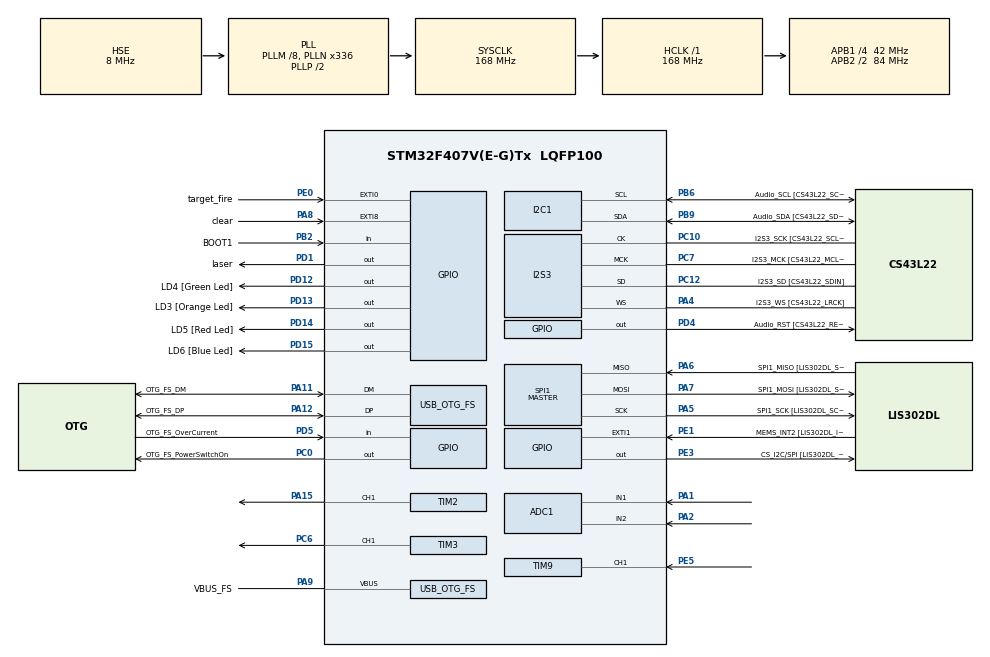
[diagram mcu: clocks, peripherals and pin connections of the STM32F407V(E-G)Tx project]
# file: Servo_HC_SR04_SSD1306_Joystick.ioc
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ADC1.Channel-0\#ChannelRegularConversion=ADC_CHANNEL_1
ADC1.Channel-1\#ChannelRegularConversion=ADC_CHANNEL_2
ADC1.ContinuousConvMode=ENABLE
ADC1.DMAContinuousRequests=ENABLE
ADC1.NbrOfConversion=2
ADC1.NbrOfConversionFlag=1
ADC1.Rank-0\#ChannelRegularConversion=1
ADC1.Rank-1\#ChannelRegularConversion=2
ADC1.SamplingTime-0\#ChannelRegularConversion=ADC_SAMPLETIME_480CYCLES
ADC1.SamplingTime-1\#ChannelRegularConversion=ADC_SAMPLETIME_480CYCLES
ADC1.ScanConvMode=ENABLE
ADC1.master=1
Dma.ADC1.0.Direction=DMA_PERIPH_TO_MEMORY
Dma.ADC1.0.FIFOMode=DMA_FIFOMODE_DISABLE
Dma.ADC1.0.Instance=DMA2_Stream0
Dma.ADC1.0.MemDataAlignment=DMA_MDATAALIGN_HALFWORD
Dma.ADC1.0.MemInc=DMA_MINC_ENABLE
Dma.ADC1.0.Mode=DMA_CIRCULAR
Dma.ADC1.0.PeriphDataAlignment=DMA_PDATAALIGN_HALFWORD
Dma.ADC1.0.PeriphInc=DMA_PINC_DISABLE
Dma.ADC1.0.Priority=DMA_PRIORITY_LOW
Dma.I2C1_TX.1.Direction=DMA_MEMORY_TO_PERIPH
Dma.I2C1_TX.1.FIFOMode=DMA_FIFOMODE_DISABLE
Dma.I2C1_TX.1.Instance=DMA1_Stream6
Dma.I2C1_TX.1.MemDataAlignment=DMA_MDATAALIGN_BYTE
Dma.I2C1_TX.1.MemInc=DMA_MINC_ENABLE
Dma.I2C1_TX.1.Mode=DMA_NORMAL
Dma.I2C1_TX.1.PeriphDataAlignment=DMA_PDATAALIGN_BYTE
Dma.I2C1_TX.1.PeriphInc=DMA_PINC_DISABLE
Dma.I2C1_TX.1.Priority=DMA_PRIORITY_LOW
Dma.Request0=ADC1
Dma.Request1=I2C1_TX
I2C1.I2C_Mode=I2C_Fast
I2S3.AudioFreq-Half_Duplex_Master=I2S_AUDIOFREQ_96K
I2S3.ErrorAudioFreq=-2.34 %
I2S3.ErrorAudioFreq-Half_Duplex_Master=0.8 %
I2S3.FullDuplexMode=I2S_FULLDUPLEXMODE_DISABLE
I2S3.Instance=SPI$Index
I2S3.RealAudioFreq=93.75 KHz
I2S3.RealAudioFreq-Half_Duplex_Master=96.774 KHz
I2S3.VirtualMode=I2S_MODE_MASTER
Mcu.Family=STM32F4
Mcu.Name=STM32F407V(E-G)Tx
Mcu.Package=LQFP100
NVIC.DMA1_Stream6_IRQn=true\:0\:0\:false\:false\:true\:false\:true\:true
NVIC.DMA2_Stream0_IRQn=true\:0\:0\:false\:false\:true\:false\:true\:true
NVIC.EXTI0_IRQn=true\:0\:0\:false\:false\:true\:true\:true\:true
NVIC.EXTI9_5_IRQn=true\:0\:0\:false\:false\:true\:true\:true\:true
NVIC.I2C1_ER_IRQn=true\:0\:0\:false\:false\:true\:true\:true\:true
NVIC.I2C1_EV_IRQn=true\:0\:0\:false\:false\:true\:true\:true\:true
NVIC.OTG_FS_IRQn=true\:0\:0\:false\:false\:true\:true\:true\:true
NVIC.PriorityGroup=NVIC_PRIORITYGROUP_0
NVIC.TIM1_BRK_TIM9_IRQn=true\:0\:0\:false\:false\:true\:true\:true\:true
PA1.Signal=ADCx_IN1
PA10.GPIO_Label=OTG_FS_ID
PA10.GPIO_Mode=GPIO_MODE_AF_PP
PA10.GPIO_PuPd=GPIO_NOPULL
PA10.GPIO_Speed=GPIO_SPEED_FREQ_LOW
PA10.Signal=USB_OTG_FS_ID
PA11.GPIO_Label=OTG_FS_DM
PA11.GPIO_Mode=GPIO_MODE_AF_PP
PA11.GPIO_PuPd=GPIO_NOPULL
PA11.GPIO_Speed=GPIO_SPEED_FREQ_LOW
PA11.Mode=Host_Only
PA11.Signal=USB_OTG_FS_DM
PA12.GPIO_Label=OTG_FS_DP
PA12.GPIO_Mode=GPIO_MODE_AF_PP
PA12.GPIO_PuPd=GPIO_NOPULL
PA12.GPIO_Speed=GPIO_SPEED_FREQ_LOW
PA12.Mode=Host_Only
PA12.Signal=USB_OTG_FS_DP
PA13.GPIO_Label=SWDIO
PA13.Mode=Serial_Wire
PA13.Signal=SYS_JTMS-SWDIO
PA14.GPIO_Label=SWCLK
PA14.Mode=Serial_Wire
PA14.Signal=SYS_JTCK-SWCLK
PA15.Signal=S_TIM2_CH1_ETR
PA2.Signal=ADCx_IN2
PA4.GPIO_Label=I2S3_WS [CS43L22_LRCK]
PA4.GPIO_Mode=GPIO_MODE_AF_PP
PA4.GPIO_PuPd=GPIO_NOPULL
PA4.GPIO_Speed=GPIO_SPEED_FREQ_LOW
PA4.Mode=Half_Duplex_Master
PA4.Signal=I2S3_WS
PA5.GPIO_Label=SPI1_SCK [LIS302DL_SCL/SPC]
PA5.GPIO_Mode=GPIO_MODE_AF_PP
PA5.GPIO_PuPd=GPIO_NOPULL
PA5.GPIO_Speed=GPIO_SPEED_FREQ_LOW
PA5.Mode=Full_Duplex_Master
PA5.Signal=SPI1_SCK
PA6.GPIO_Label=SPI1_MISO [LIS302DL_SDO]
PA6.GPIO_Mode=GPIO_MODE_AF_PP
PA6.GPIO_PuPd=GPIO_NOPULL
PA6.GPIO_Speed=GPIO_SPEED_FREQ_LOW
PA6.Mode=Full_Duplex_Master
PA6.Signal=SPI1_MISO
PA7.GPIO_Label=SPI1_MOSI [LIS302DL_SDA/SDI/SDO]
PA7.GPIO_Mode=GPIO_MODE_AF_PP
PA7.GPIO_PuPd=GPIO_NOPULL
PA7.GPIO_Speed=GPIO_SPEED_FREQ_LOW
PA7.Mode=Full_Duplex_Master
PA7.Signal=SPI1_MOSI
PA8.GPIO_Label=clear
PA8.GPIO_PuPd=GPIO_PULLUP
PA8.Signal=GPXTI8
PA9.GPIO_Label=VBUS_FS
PA9.GPIO_Mode=GPIO_MODE_INPUT
PA9.GPIO_PuPd=GPIO_NOPULL
PA9.Mode=Activate_VBUS
PA9.Signal=USB_OTG_FS_VBUS
PB10.GPIO_Label=CLK_IN [MP45DT02_CLK]
PB10.GPIO_Mode=GPIO_MODE_AF_PP
PB10.GPIO_PuPd=GPIO_NOPULL
PB10.GPIO_Speed=GPIO_SPEED_FREQ_LOW
PB10.Signal=I2S2_CK
PB2.GPIO_Label=BOOT1
PB2.GPIO_Mode=GPIO_MODE_INPUT
PB2.GPIO_PuPd=GPIO_NOPULL
PB2.Signal=GPIO_Input
PB3.GPIO_Label=SWO
PB3.Signal=SYS_JTDO-SWO
PB6.GPIO_Label=Audio_SCL [CS43L22_SCL]
PB6.GPIO_Mode=GPIO_MODE_AF_OD
PB6.GPIO_Pu=GPIO_PULLUP
PB6.GPIO_PuPd=GPIO_NOPULL
PB6.GPIO_Speed=GPIO_SPEED_FREQ_LOW
PB6.Mode=I2C
PB6.Signal=I2C1_SCL
PB9.GPIO_Label=Audio_SDA [CS43L22_SDA]
PB9.GPIO_Mode=GPIO_MODE_AF_OD
PB9.GPIO_Pu=GPIO_PULLUP
PB9.GPIO_PuPd=GPIO_NOPULL
PB9.GPIO_Speed=GPIO_SPEED_FREQ_LOW
PB9.Mode=I2C
PB9.Signal=I2C1_SDA
PC0.GPIO_Label=OTG_FS_PowerSwitchOn
PC0.GPIO_PuPd=GPIO_NOPULL
PC0.GPIO_Speed=GPIO_SPEED_FREQ_LOW
PC0.PinState=GPIO_PIN_SET
PC0.Signal=GPIO_Output
PC10.GPIO_Label=I2S3_SCK [CS43L22_SCLK]
PC10.GPIO_Mode=GPIO_MODE_AF_PP
PC10.GPIO_PuPd=GPIO_NOPULL
PC10.GPIO_Speed=GPIO_SPEED_FREQ_LOW
PC10.Mode=Half_Duplex_Master
PC10.Signal=I2S3_CK
PC12.GPIO_Label=I2S3_SD [CS43L22_SDIN]
PC12.GPIO_Mode=GPIO_MODE_AF_PP
PC12.GPIO_PuPd=GPIO_NOPULL
PC12.GPIO_Speed=GPIO_SPEED_FREQ_LOW
PC12.Mode=Half_Duplex_Master
PC12.Signal=I2S3_SD
PC14-OSC32_IN.GPIO_Label=PC14-OSC32_IN
PC14-OSC32_IN.Mode=LSE-External-Oscillator
PC14-OSC32_IN.Signal=RCC_OSC32_IN
PC15-OSC32_OUT.GPIO_Label=PC15-OSC32_OUT
PC15-OSC32_OUT.Mode=LSE-External-Oscillator
PC15-OSC32_OUT.Signal=RCC_OSC32_OUT
PC3.GPIO_Label=PDM_OUT [MP45DT02_DOUT]
PC3.GPIO_Mode=GPIO_MODE_AF_PP
PC3.GPIO_PuPd=GPIO_NOPULL
PC3.GPIO_Speed=GPIO_SPEED_FREQ_LOW
PC3.Signal=I2S2_SD
PC6.Signal=S_TIM3_CH1
PC7.GPIO_Label=I2S3_MCK [CS43L22_MCLK]
PC7.GPIO_Mode=GPIO_MODE_AF_PP
PC7.GPIO_PuPd=GPIO_NOPULL
PC7.GPIO_Speed=GPIO_SPEED_FREQ_LOW
PC7.Mode=Master_Clock_Activated
PC7.Signal=I2S3_MCK
PD1.GPIO_Label=laser
PD1.Signal=GPIO_Output
PD12.GPIO_Label=LD4 [Green Led]
PD12.GPIO_PuPd=GPIO_NOPULL
PD12.GPIO_Speed=GPIO_SPEED_FREQ_LOW
PD12.Signal=GPIO_Output
PD13.GPIO_Label=LD3 [Orange Led]
PD13.GPIO_PuPd=GPIO_NOPULL
PD13.GPIO_Speed=GPIO_SPEED_FREQ_LOW
PD13.Signal=GPIO_Output
PD14.GPIO_Label=LD5 [Red Led]
PD14.GPIO_PuPd=GPIO_NOPULL
PD14.GPIO_Speed=GPIO_SPEED_FREQ_LOW
PD14.Signal=GPIO_Output
PD15.GPIO_Label=LD6 [Blue Led]
PD15.GPIO_PuPd=GPIO_NOPULL
PD15.GPIO_Speed=GPIO_SPEED_FREQ_LOW
PD15.Signal=GPIO_Output
PD4.GPIO_Label=Audio_RST [CS43L22_RESET]
PD4.GPIO_PuPd=GPIO_NOPULL
PD4.GPIO_Speed=GPIO_SPEED_FREQ_LOW
PD4.Signal=GPIO_Output
PD5.GPIO_Label=OTG_FS_OverCurrent
PD5.GPIO_Mode=GPIO_MODE_INPUT
PD5.GPIO_PuPd=GPIO_NOPULL
PD5.Signal=GPIO_Input
PE0.GPIO_Label=target_fire
PE0.GPIO_PuPd=GPIO_PULLUP
PE0.Signal=GPXTI0
PE1.GPIO_Label=MEMS_INT2 [LIS302DL_INT2]
PE1.GPIO_ModeDefaultEXTI=GPIO_MODE_EVT_RISING
PE1.GPIO_PuPd=GPIO_NOPULL
PE1.Signal=GPXTI1
PE3.GPIO_Label=CS_I2C/SPI [LIS302DL_CS_I2C/SPI]
PE3.GPIO_PuPd=GPIO_NOPULL
PE3.GPIO_Speed=GPIO_SPEED_FREQ_LOW
PE3.Signal=GPIO_Output
PE5.Signal=S_TIM9_CH1
PH0-OSC_IN.GPIO_Label=PH0-OSC_IN
PH0-OSC_IN.Mode=HSE-External-Oscillator
PH0-OSC_IN.Signal=RCC_OSC_IN
PH1-OSC_OUT.GPIO_Label=PH1-OSC_OUT
PH1-OSC_OUT.Mode=HSE-External-Oscillator
PH1-OSC_OUT.Signal=RCC_OSC_OUT
ProjectManager.HeapSize=0x200
ProjectManager.StackSize=0x400
ProjectManager.TargetToolchain=STM32CubeIDE
RCC.48MHZClocksFreq_Value=48000000
RCC.AHBFreq_Value=168000000
RCC.APB1CLKDivider=RCC_HCLK_DIV4
RCC.APB1Freq_Value=42000000
RCC.APB1TimFreq_Value=84000000
RCC.APB2CLKDivider=RCC_HCLK_DIV2
RCC.APB2Freq_Value=84000000
RCC.APB2TimFreq_Value=168000000
RCC.CortexFreq_Value=168000000
RCC.HCLKFreq_Value=168000000
RCC.HSE_VALUE=8000000
RCC.HSI_VALUE=16000000
RCC.PLLM=8
RCC.PLLN=336
RCC.PLLQ=7
RCC.SYSCLKFreq_VALUE=168000000
RCC.SYSCLKSource=RCC_SYSCLKSOURCE_PLLCLK
RCC.VCOOutputFreq_Value=336000000
SH.ADCx_IN1.0=ADC1_IN1,IN1
SH.ADCx_IN2.0=ADC1_IN2,IN2
SH.S_TIM2_CH1_ETR.0=TIM2_CH1,PWM Generation1 CH1
SH.S_TIM3_CH1.0=TIM3_CH1,PWM Generation1 CH1
SH.S_TIM9_CH1.0=TIM9_CH1,TriggerSource_TI1FP1
SH.S_TIM9_CH1.1=TIM9_CH1,Input_Capture1_from_TI1
SPI1.BaudRatePrescaler-Full_Duplex_Master=SPI_BAUDRATEPRESCALER_2
SPI1.CalculateBaudRate-Full_Duplex_Master=42.0 MBits/s
SPI1.Direction=SPI_DIRECTION_2LINES
SPI1.Mode=SPI_MODE_MASTER
SPI1.Mode-Full_Duplex_Master=SPI_MODE_MASTER
SPI1.VirtualType=VM_MASTER
TIM2.Channel-PWM\ Generation1\ CH1=TIM_CHANNEL_1
TIM2.Period=8400-1
TIM2.Prescaler=200-1
TIM3.Channel-PWM\ Generation1\ CH1=TIM_CHANNEL_1
TIM3.Period=59999
TIM3.Prescaler=83
TIM3.Pulse-PWM\ Generation1\ CH1=10
TIM9.Channel-Input_Capture1_from_TI1=TIM_CHANNEL_1
TIM9.Channel-Input_Capture2_from_TI1_63=TIM_CHANNEL_2
TIM9.ICPolarity_CH2=TIM_INPUTCHANNELPOLARITY_FALLING
TIM9.Prescaler=167
USB_HOST.BSP.number=1
USB_HOST.USBH_HandleTypeDef-CDC_FS=hUsbHostFS
USB_HOST.VirtualModeFS=Cdc
USB_HOST0.BSP.STBoard=false
USB_HOST0.BSP.api=Unknown
USB_HOST0.BSP.instance=PC0
USB_HOST0.BSP.ip=GPIO
USB_HOST0.BSP.mode=Output
USB_HOST0.BSP.name=Drive_VBUS_FS
USB_HOST0.BSP.solution=PC0
USB_OTG_FS.VirtualMode=Host_Only
USB_OTG_FS.phy_itface=HCD_PHY_EMBEDDED
VP_TIM2_VS_ClockSourceINT.Mode=Internal
VP_TIM3_VS_ClockSourceINT.Mode=Internal
VP_TIM9_VS_ControllerModeReset.Mode=Reset Mode
VP_TIM9_VS_indirect_ch1.Mode=Input_Capture2_from_TI1_63
VP_USB_HOST_VS_USB_HOST_CDC_FS.Mode=CDC_FS
board=STM32F407G-DISC1

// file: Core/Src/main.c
/* USER CODE BEGIN Header */
/**
  ******************************************************************************
  * @file           : main.c
  * @brief          : Main program body
  ******************************************************************************
  * @attention
  *
  * Copyright (c) 2026 STMicroelectronics.
  * All rights reserved.
  *
  * This software is licensed under terms that can be found in the LICENSE file
  * in the root directory of this software component.
  * If no LICENSE file comes with this software, it is provided AS-IS.
  *
  ******************************************************************************
  */
/* USER CODE END Header */
#include "main.h"
#include "usb_host.h"

/* USER CODE BEGIN Includes */
#include<stdio.h>
#include "ssd1306_fonts.h"
#include "ssd1306.h"
/* USER CODE END Includes */

/* USER CODE BEGIN PM */
#define SIZE 3 // Maximum number of targets to save
/* USER CODE END PM */

ADC_HandleTypeDef hadc1;
DMA_HandleTypeDef hdma_adc1;

I2C_HandleTypeDef hi2c1;
DMA_HandleTypeDef hdma_i2c1_tx;

I2S_HandleTypeDef hi2s3;

SPI_HandleTypeDef hspi1;

TIM_HandleTypeDef htim2;// For servo motor PWM signal
TIM_HandleTypeDef htim3;// For possible other PWM operations
TIM_HandleTypeDef htim9;// For HC-SR04 Input Capture (Echo time measurement)

/* USER CODE BEGIN PV */

// --- SENSOR AND JOYSTICK VARIABLES ---
uint16_t adc_value[2] = {0};			// Joystick X and Y raw ADC data read via DMA
volatile uint16_t joy_servo_value = 0;	// 0-180 degree target angle converted from Joystick X axis
volatile uint16_t joy_ssd1306 = 0;		// Joystick Y axis data (For menu navigation)
uint16_t joy_servo_value_old = 0;		// Old angle data to prevent joystick noise (deadband)

// --- DISTANCE AND TARGET REGISTRATION VARIABLES ---
float distances[SIZE] ={0};				// Array holding the distances of found targets (cm)
float distance = 0;						// Current instantly measured distance
float distance_old = 0;					// Old distance to avoid saving the same target twice
uint8_t distance_counter = 0;			// Index of the next empty slot in the array (for distance)
uint8_t targets[SIZE] = {0};			// Array holding the angle (degrees) of found targets
uint8_t target_counter = 0;				// Index of the next empty slot in the array (for angle)

// --- TIMER AND FLAG VARIABLES ---
uint32_t time = 0;						// Sensor echo return time in microseconds
volatile uint8_t flag = 0;				// Flag raised when Input Capture is completed (echo measured)
volatile uint8_t clear_flag = 0;		// Flag raised when Clear button is pressed
uint8_t target_fire_flag = 0;			// Flag raised when Fire button is pressed
uint8_t screen = 1;						// Flag indicating the screen needs to be updated

// --- CONTROL VARIABLES ---
uint16_t last_measurement_angle = 0; 	// Angle of the last measurement to prevent successive measurements
uint32_t last_measurement_time = 0;  	// Time (ms) of the last measurement to prevent spam measurements

// --- OLED SCREEN VARIABLES ---
char screenbuffer[SIZE][30] = {0};		// Array temporarily holding the texts to be printed on the screen
uint8_t selected_target = 1;			// Target line currently focused in the menu (0, 1, or 2)
uint8_t old_selected_target = 99;		// Old selection state to update the screen when the menu cursor changes

/* USER CODE END PV */

void SystemClock_Config(void);
static void MX_GPIO_Init(void);
static void MX_DMA_Init(void);
static void MX_I2C1_Init(void);
static void MX_I2S3_Init(void);
static void MX_SPI1_Init(void);
static void MX_ADC1_Init(void);
static void MX_TIM2_Init(void);
static void MX_TIM3_Init(void);
static void MX_TIM9_Init(void);
void MX_USB_HOST_Process(void);

/* USER CODE BEGIN PFP */
void set_servo_angle (TIM_HandleTypeDef *htim,uint32_t channel,uint8_t angle);
void fire();
/* USER CODE END PFP */

int main(void)
{

  /* MCU Configuration--------------------------------------------------------*/

  /* Reset of all peripherals, Initializes the Flash interface and the Systick. */
  HAL_Init();

  /* Configure the system clock */
  SystemClock_Config();

  /* Initialize all configured peripherals */
  MX_GPIO_Init();
  MX_DMA_Init();
  MX_I2C1_Init();
  MX_I2S3_Init();
  MX_SPI1_Init();
  MX_USB_HOST_Init();
  MX_ADC1_Init();
  MX_TIM2_Init();
  MX_TIM3_Init();
  MX_TIM9_Init();
  /* USER CODE BEGIN 2 */
  HAL_Delay(500);// Short delay for system power-up and OLED readiness
  ssd1306_Init();// Initialize the OLED screen

  // Start ADC in DMA mode (Reads Joystick X and Y axes continuously in the background)
  HAL_ADC_Start_DMA(&hadc1 ,(uint32_t*)adc_value,2);

  // Start PWM signals for motors
  HAL_TIM_PWM_Start(&htim2, TIM_CHANNEL_1);
  HAL_TIM_PWM_Start(&htim3, TIM_CHANNEL_1);

  // Start Input Capture modules to measure the echo time of the distance sensor
  HAL_TIM_IC_Start_IT(&htim9,TIM_CHANNEL_1);
  HAL_TIM_IC_Start_IT(&htim9,TIM_CHANNEL_2);
  /* USER CODE END 2 */

  /* Infinite loop */
  while (1)
  {
    MX_USB_HOST_Process();

    /* USER CODE BEGIN 3 */
    // --- 1. FREE CONTROL OF SERVO MOTOR WITH JOYSTICK ---
    // We create a 2-degree "deadband" to prevent small tremors (noise) from the joystick from affecting the motor.
    int16_t difference = (int16_t)joy_servo_value - (int16_t)joy_servo_value_old;
    if(difference > 2 || difference < -2 ){
        set_servo_angle(&htim2, TIM_CHANNEL_1,joy_servo_value);
        joy_servo_value_old = joy_servo_value;// Update the old value
    }

    // --- 2. DISTANCE MEASUREMENT AND TARGET DETECTION ---
    // When the echo returns from the sensor (when the Input capture interrupt is triggered)
    if(flag == 1){
    	flag = 0;// Lower the flag as we start processing

    	// Speed of sound formula: Find the distance in centimeters by dividing the time (microseconds) by 58
    	distance = (float)time / 58.0f;

    	// Registration check to prevent saving the same target repeatedly
    	uint8_t registered = 0;
    	for(int i = 0; i < SIZE;i++){
    		// If the measured distance is within +- 1 cm of an existing distance in the array, this target is already registered
    		if(distances[i] != 0.0f  &&(distance - distances[i] < 1.0f && distances[i] - distance < 1.0f)){
    			registered = 1;
    			break;
    		}
    	}

    	// Angle difference between the current position and the previous recording position (must have rotated at least 20 degrees)
    	int16_t angle_diff = (int16_t)joy_servo_value - (int16_t)last_measurement_angle;

    	// Get the elapsed time (at least 1 second must have passed to prevent spam recording)
    	uint32_t current_time = HAL_GetTick();

    	// IF: Target is closer than 20cm AND hasn't been recorded before AND there's room in the array
    	// AND motor has rotated at least 20 degrees AND 1000ms has passed since the last measurement -> SAVE
    	if(distance < 20.0f && registered == 0 && target_counter < SIZE &&
    	  (angle_diff >= 20 || angle_diff <= -20) && (current_time - last_measurement_time >= 1000)){

    		// Save the target to the arrays
    		distances[distance_counter] = distance;
    		targets[target_counter] = joy_servo_value;

    		// Increment the counters by one
    		target_counter++;
    		distance_counter++;

    		distance_old = distance;
    		screen = 1;// Give the order to update the screen since a new target was added

    		// We update our reference measurement points since the criteria are met
    		last_measurement_angle = joy_servo_value;
    		last_measurement_time = current_time;
    	}
    }

    // --- 3. CLEAR TARGETS BUTTON (CLEAR) ---
    if(clear_flag == 1){
    	// Reset the contents of the arrays
    	for (int i = 0; i<SIZE;i++){
    		distances[i] = 0;
    		targets[i] = 0;
    	}
    	target_counter = 0;
    	distance_counter = 0;
    	clear_flag = 0;// Operation finished, lower the flag
    	screen = 1;// Order to update the screen to clear it

    	// Return the system to the starting position (exact center point)
        set_servo_angle(&htim2, TIM_CHANNEL_1,90);
        joy_servo_value_old = 90;
        last_measurement_angle = 90;

        // Move the menu cursor to the top
        selected_target = 0;
        old_selected_target = 99;
    }

    // --- 4. OLED SCREEN MENU SELECTION (JOYSTICK Y AXIS) ---
    // Navigation process in a 3-line menu based on the ADC data (0-4095) of the joystick's Y axis
    if(joy_ssd1306 < 1300) {
            selected_target = 0;// Joystick pulled up
        }
        else if(joy_ssd1306 > 2700) {
            selected_target = 2;// Joystick pulled down
        }
        else {
            selected_target = 1;// Joystick in the middle (free)
        }

    // If the user moved to a different line with the joystick:
    if(selected_target != old_selected_target){
            old_selected_target = selected_target;// Equalize the state to prevent jitter
            screen = 1;// Update the screen because the cursor (>) will move

            // If there is a valid (non-empty) target on the selected line, send the motor directly to that target's angle
            if(selected_target < target_counter){
            	set_servo_angle(&htim2, TIM_CHANNEL_1, targets[selected_target]);
            }

        }

    // --- 5. FIRE AT TARGET BUTTON (FIRE) ---
    if(target_fire_flag == 1){
    		// Lower the flag as soon as firing starts (to prevent continuous firing)
            target_fire_flag = 0;

            // We check for a valid target to prevent accidentally firing at an empty line (0.0 cm)
            if(selected_target < target_counter){
                fire();// Call the laser firing function
            }
        }

    // --- 6. UPDATING THE OLED SCREEN ---
    if(screen == 1){
            for(uint8_t i = 0; i < SIZE; i++){
            	// Places a '>' sign at the beginning of the selected line, and a space ' ' for others (Ternary If usage)
                char cursor = (i == selected_target) ? '>' : ' ';

                // Format the text to be printed. Ex: "> Target:1 cm:15.5"
                sprintf(screenbuffer[i], "%c Target:%d cm:%.1f", cursor, i+1, distances[i]);

                // Set the cursor so that the X coordinate of each line is 0, and the Y coordinate is 16, 32, and 48
                ssd1306_SetCursor(0, (16 + (i * 16)));
                ssd1306_WriteString(screenbuffer[i], Font_6x8, White);// Write to the buffer
            }
            // Display the changes on the screen via DMA in the background without straining the hardware
            ssd1306_UpdateScreen_DMA();
            screen = 0; // Update finished, lower the flag
        }

      }

  /* USER CODE END 3 */
}

void SystemClock_Config(void)
{
  RCC_OscInitTypeDef RCC_OscInitStruct = {0};
  RCC_ClkInitTypeDef RCC_ClkInitStruct = {0};

  /** Configure the main internal regulator output voltage
  */
  __HAL_RCC_PWR_CLK_ENABLE();
  __HAL_PWR_VOLTAGESCALING_CONFIG(PWR_REGULATOR_VOLTAGE_SCALE1);

  /** Initializes the RCC Oscillators according to the specified parameters
  * in the RCC_OscInitTypeDef structure.
  */
  RCC_OscInitStruct.OscillatorType = RCC_OSCILLATORTYPE_HSE;
  RCC_OscInitStruct.HSEState = RCC_HSE_ON;
  RCC_OscInitStruct.PLL.PLLState = RCC_PLL_ON;
  RCC_OscInitStruct.PLL.PLLSource = RCC_PLLSOURCE_HSE;
  RCC_OscInitStruct.PLL.PLLM = 8;
  RCC_OscInitStruct.PLL.PLLN = 336;
  RCC_OscInitStruct.PLL.PLLP = RCC_PLLP_DIV2;
  RCC_OscInitStruct.PLL.PLLQ = 7;
  if (HAL_RCC_OscConfig(&RCC_OscInitStruct) != HAL_OK)
  {
    Error_Handler();
  }

  /** Initializes the CPU, AHB and APB buses clocks
  */
  RCC_ClkInitStruct.ClockType = RCC_CLOCKTYPE_HCLK|RCC_CLOCKTYPE_SYSCLK
                              |RCC_CLOCKTYPE_PCLK1|RCC_CLOCKTYPE_PCLK2;
  RCC_ClkInitStruct.SYSCLKSource = RCC_SYSCLKSOURCE_PLLCLK;
  RCC_ClkInitStruct.AHBCLKDivider = RCC_SYSCLK_DIV1;
  RCC_ClkInitStruct.APB1CLKDivider = RCC_HCLK_DIV4;
  RCC_ClkInitStruct.APB2CLKDivider = RCC_HCLK_DIV2;

  if (HAL_RCC_ClockConfig(&RCC_ClkInitStruct, FLASH_LATENCY_5) != HAL_OK)
  {
    Error_Handler();
  }
}

static void MX_ADC1_Init(void)
{

  ADC_ChannelConfTypeDef sConfig = {0};

  /** Configure the global features of the ADC (Clock, Resolution, Data Alignment and number of conversion)
  */
  hadc1.Instance = ADC1;
  hadc1.Init.ClockPrescaler = ADC_CLOCK_SYNC_PCLK_DIV4;
  hadc1.Init.Resolution = ADC_RESOLUTION_12B;
  hadc1.Init.ScanConvMode = ENABLE;
  hadc1.Init.ContinuousConvMode = ENABLE;
  hadc1.Init.DiscontinuousConvMode = DISABLE;
  hadc1.Init.ExternalTrigConvEdge = ADC_EXTERNALTRIGCONVEDGE_NONE;
  hadc1.Init.ExternalTrigConv = ADC_SOFTWARE_START;
  hadc1.Init.DataAlign = ADC_DATAALIGN_RIGHT;
  hadc1.Init.NbrOfConversion = 2;
  hadc1.Init.DMAContinuousRequests = ENABLE;
  hadc1.Init.EOCSelection = ADC_EOC_SINGLE_CONV;
  if (HAL_ADC_Init(&hadc1) != HAL_OK)
  {
    Error_Handler();
  }

  /** Configure for the selected ADC regular channel its corresponding rank in the sequencer and its sample time.
  */
  sConfig.Channel = ADC_CHANNEL_1;
  sConfig.Rank = 1;
  sConfig.SamplingTime = ADC_SAMPLETIME_480CYCLES;
  if (HAL_ADC_ConfigChannel(&hadc1, &sConfig) != HAL_OK)
  {
    Error_Handler();
  }

  /** Configure for the selected ADC regular channel its corresponding rank in the sequencer and its sample time.
  */
  sConfig.Channel = ADC_CHANNEL_2;
  sConfig.Rank = 2;
  if (HAL_ADC_ConfigChannel(&hadc1, &sConfig) != HAL_OK)
  {
    Error_Handler();
  }

}

static void MX_I2C1_Init(void)
{

  hi2c1.Instance = I2C1;
  hi2c1.Init.ClockSpeed = 400000;
  hi2c1.Init.DutyCycle = I2C_DUTYCYCLE_2;
  hi2c1.Init.OwnAddress1 = 0;
  hi2c1.Init.AddressingMode = I2C_ADDRESSINGMODE_7BIT;
  hi2c1.Init.DualAddressMode = I2C_DUALADDRESS_DISABLE;
  hi2c1.Init.OwnAddress2 = 0;
  hi2c1.Init.GeneralCallMode = I2C_GENERALCALL_DISABLE;
  hi2c1.Init.NoStretchMode = I2C_NOSTRETCH_DISABLE;
  if (HAL_I2C_Init(&hi2c1) != HAL_OK)
  {
    Error_Handler();
  }

}

static void MX_I2S3_Init(void)
{

  hi2s3.Instance = SPI3;
  hi2s3.Init.Mode = I2S_MODE_MASTER_TX;
  hi2s3.Init.Standard = I2S_STANDARD_PHILIPS;
  hi2s3.Init.DataFormat = I2S_DATAFORMAT_16B;
  hi2s3.Init.MCLKOutput = I2S_MCLKOUTPUT_ENABLE;
  hi2s3.Init.AudioFreq = I2S_AUDIOFREQ_96K;
  hi2s3.Init.CPOL = I2S_CPOL_LOW;
  hi2s3.Init.ClockSource = I2S_CLOCK_PLL;
  hi2s3.Init.FullDuplexMode = I2S_FULLDUPLEXMODE_DISABLE;
  if (HAL_I2S_Init(&hi2s3) != HAL_OK)
  {
    Error_Handler();
  }

}

static void MX_SPI1_Init(void)
{

  /* SPI1 parameter configuration*/
  hspi1.Instance = SPI1;
  hspi1.Init.Mode = SPI_MODE_MASTER;
  hspi1.Init.Direction = SPI_DIRECTION_2LINES;
  hspi1.Init.DataSize = SPI_DATASIZE_8BIT;
  hspi1.Init.CLKPolarity = SPI_POLARITY_LOW;
  hspi1.Init.CLKPhase = SPI_PHASE_1EDGE;
  hspi1.Init.NSS = SPI_NSS_SOFT;
  hspi1.Init.BaudRatePrescaler = SPI_BAUDRATEPRESCALER_2;
  hspi1.Init.FirstBit = SPI_FIRSTBIT_MSB;
  hspi1.Init.TIMode = SPI_TIMODE_DISABLE;
  hspi1.Init.CRCCalculation = SPI_CRCCALCULATION_DISABLE;
  hspi1.Init.CRCPolynomial = 10;
  if (HAL_SPI_Init(&hspi1) != HAL_OK)
  {
    Error_Handler();
  }

}

static void MX_TIM2_Init(void)
{

  TIM_ClockConfigTypeDef sClockSourceConfig = {0};
  TIM_MasterConfigTypeDef sMasterConfig = {0};
  TIM_OC_InitTypeDef sConfigOC = {0};

  htim2.Instance = TIM2;
  htim2.Init.Prescaler = 200-1;
  htim2.Init.CounterMode = TIM_COUNTERMODE_UP;
  htim2.Init.Period = 8400-1;
  htim2.Init.ClockDivision = TIM_CLOCKDIVISION_DIV1;
  htim2.Init.AutoReloadPreload = TIM_AUTORELOAD_PRELOAD_DISABLE;
  if (HAL_TIM_Base_Init(&htim2) != HAL_OK)
  {
    Error_Handler();
  }
  sClockSourceConfig.ClockSource = TIM_CLOCKSOURCE_INTERNAL;
  if (HAL_TIM_ConfigClockSource(&htim2, &sClockSourceConfig) != HAL_OK)
  {
    Error_Handler();
  }
  if (HAL_TIM_PWM_Init(&htim2) != HAL_OK)
  {
    Error_Handler();
  }
  sMasterConfig.MasterOutputTrigger = TIM_TRGO_RESET;
  sMasterConfig.MasterSlaveMode = TIM_MASTERSLAVEMODE_DISABLE;
  if (HAL_TIMEx_MasterConfigSynchronization(&htim2, &sMasterConfig) != HAL_OK)
  {
    Error_Handler();
  }
  sConfigOC.OCMode = TIM_OCMODE_PWM1;
  sConfigOC.Pulse = 0;
  sConfigOC.OCPolarity = TIM_OCPOLARITY_HIGH;
  sConfigOC.OCFastMode = TIM_OCFAST_DISABLE;
  if (HAL_TIM_PWM_ConfigChannel(&htim2, &sConfigOC, TIM_CHANNEL_1) != HAL_OK)
  {
    Error_Handler();
  }
  HAL_TIM_MspPostInit(&htim2);

}

static void MX_TIM3_Init(void)
{

  TIM_ClockConfigTypeDef sClockSourceConfig = {0};
  TIM_MasterConfigTypeDef sMasterConfig = {0};
  TIM_OC_InitTypeDef sConfigOC = {0};

  htim3.Instance = TIM3;
  htim3.Init.Prescaler = 83;
  htim3.Init.CounterMode = TIM_COUNTERMODE_UP;
  htim3.Init.Period = 59999;
  htim3.Init.ClockDivision = TIM_CLOCKDIVISION_DIV1;
  htim3.Init.AutoReloadPreload = TIM_AUTORELOAD_PRELOAD_DISABLE;
  if (HAL_TIM_Base_Init(&htim3) != HAL_OK)
  {
    Error_Handler();
  }
  sClockSourceConfig.ClockSource = TIM_CLOCKSOURCE_INTERNAL;
  if (HAL_TIM_ConfigClockSource(&htim3, &sClockSourceConfig) != HAL_OK)
  {
    Error_Handler();
  }
  if (HAL_TIM_PWM_Init(&htim3) != HAL_OK)
  {
    Error_Handler();
  }
  sMasterConfig.MasterOutputTrigger = TIM_TRGO_RESET;
  sMasterConfig.MasterSlaveMode = TIM_MASTERSLAVEMODE_DISABLE;
  if (HAL_TIMEx_MasterConfigSynchronization(&htim3, &sMasterConfig) != HAL_OK)
  {
    Error_Handler();
  }
  sConfigOC.OCMode = TIM_OCMODE_PWM1;
  sConfigOC.Pulse = 10;
  sConfigOC.OCPolarity = TIM_OCPOLARITY_HIGH;
  sConfigOC.OCFastMode = TIM_OCFAST_DISABLE;
  if (HAL_TIM_PWM_ConfigChannel(&htim3, &sConfigOC, TIM_CHANNEL_1) != HAL_OK)
  {
    Error_Handler();
  }
  HAL_TIM_MspPostInit(&htim3);

}

static void MX_TIM9_Init(void)
{

  TIM_SlaveConfigTypeDef sSlaveConfig = {0};
  TIM_IC_InitTypeDef sConfigIC = {0};

  htim9.Instance = TIM9;
  htim9.Init.Prescaler = 167;
  htim9.Init.CounterMode = TIM_COUNTERMODE_UP;
  htim9.Init.Period = 65535;
  htim9.Init.ClockDivision = TIM_CLOCKDIVISION_DIV1;
  htim9.Init.AutoReloadPreload = TIM_AUTORELOAD_PRELOAD_DISABLE;
  if (HAL_TIM_Base_Init(&htim9) != HAL_OK)
  {
    Error_Handler();
  }
  if (HAL_TIM_IC_Init(&htim9) != HAL_OK)
  {
    Error_Handler();
  }
  sSlaveConfig.SlaveMode = TIM_SLAVEMODE_RESET;
  sSlaveConfig.InputTrigger = TIM_TS_TI1FP1;
  sSlaveConfig.TriggerPolarity = TIM_INPUTCHANNELPOLARITY_RISING;
  sSlaveConfig.TriggerFilter = 0;
  if (HAL_TIM_SlaveConfigSynchro(&htim9, &sSlaveConfig) != HAL_OK)
  {
    Error_Handler();
  }
  sConfigIC.ICPolarity = TIM_INPUTCHANNELPOLARITY_RISING;
  sConfigIC.ICSelection = TIM_ICSELECTION_DIRECTTI;
  sConfigIC.ICPrescaler = TIM_ICPSC_DIV1;
  sConfigIC.ICFilter = 0;
  if (HAL_TIM_IC_ConfigChannel(&htim9, &sConfigIC, TIM_CHANNEL_1) != HAL_OK)
  {
    Error_Handler();
  }
  sConfigIC.ICPolarity = TIM_INPUTCHANNELPOLARITY_FALLING;
  sConfigIC.ICSelection = TIM_ICSELECTION_INDIRECTTI;
  if (HAL_TIM_IC_ConfigChannel(&htim9, &sConfigIC, TIM_CHANNEL_2) != HAL_OK)
  {
    Error_Handler();
  }

}

static void MX_DMA_Init(void)
{

  /* DMA controller clock enable */
  __HAL_RCC_DMA2_CLK_ENABLE();
  __HAL_RCC_DMA1_CLK_ENABLE();

  /* DMA interrupt init */
  /* DMA1_Stream6_IRQn interrupt configuration */
  HAL_NVIC_SetPriority(DMA1_Stream6_IRQn, 0, 0);
  HAL_NVIC_EnableIRQ(DMA1_Stream6_IRQn);
  /* DMA2_Stream0_IRQn interrupt configuration */
  HAL_NVIC_SetPriority(DMA2_Stream0_IRQn, 0, 0);
  HAL_NVIC_EnableIRQ(DMA2_Stream0_IRQn);

}

static void MX_GPIO_Init(void)
{
  GPIO_InitTypeDef GPIO_InitStruct = {0};

  /* GPIO Ports Clock Enable */
  __HAL_RCC_GPIOE_CLK_ENABLE();
  __HAL_RCC_GPIOC_CLK_ENABLE();
  __HAL_RCC_GPIOH_CLK_ENABLE();
  __HAL_RCC_GPIOA_CLK_ENABLE();
  __HAL_RCC_GPIOB_CLK_ENABLE();
  __HAL_RCC_GPIOD_CLK_ENABLE();

  /*Configure GPIO pin Output Level */
  HAL_GPIO_WritePin(CS_I2C_SPI_GPIO_Port, CS_I2C_SPI_Pin, GPIO_PIN_RESET);

  /*Configure GPIO pin Output Level */
  HAL_GPIO_WritePin(OTG_FS_PowerSwitchOn_GPIO_Port, OTG_FS_PowerSwitchOn_Pin, GPIO_PIN_SET);

  /*Configure GPIO pin Output Level */
  HAL_GPIO_WritePin(GPIOD, LD4_Pin|LD3_Pin|LD5_Pin|LD6_Pin
                          |laser_Pin|Audio_RST_Pin, GPIO_PIN_RESET);

  /*Configure GPIO pin : CS_I2C_SPI_Pin */
  GPIO_InitStruct.Pin = CS_I2C_SPI_Pin;
  GPIO_InitStruct.Mode = GPIO_MODE_OUTPUT_PP;
  GPIO_InitStruct.Pull = GPIO_NOPULL;
  GPIO_InitStruct.Speed = GPIO_SPEED_FREQ_LOW;
  HAL_GPIO_Init(CS_I2C_SPI_GPIO_Port, &GPIO_InitStruct);

  /*Configure GPIO pin : OTG_FS_PowerSwitchOn_Pin */
  GPIO_InitStruct.Pin = OTG_FS_PowerSwitchOn_Pin;
  GPIO_InitStruct.Mode = GPIO_MODE_OUTPUT_PP;
  GPIO_InitStruct.Pull = GPIO_NOPULL;
  GPIO_InitStruct.Speed = GPIO_SPEED_FREQ_LOW;
  HAL_GPIO_Init(OTG_FS_PowerSwitchOn_GPIO_Port, &GPIO_InitStruct);

  /*Configure GPIO pin : PDM_OUT_Pin */
  GPIO_InitStruct.Pin = PDM_OUT_Pin;
  GPIO_InitStruct.Mode = GPIO_MODE_AF_PP;
  GPIO_InitStruct.Pull = GPIO_NOPULL;
  GPIO_InitStruct.Speed = GPIO_SPEED_FREQ_LOW;
  GPIO_InitStruct.Alternate = GPIO_AF5_SPI2;
  HAL_GPIO_Init(PDM_OUT_GPIO_Port, &GPIO_InitStruct);

  /*Configure GPIO pin : BOOT1_Pin */
  GPIO_InitStruct.Pin = BOOT1_Pin;
  GPIO_InitStruct.Mode = GPIO_MODE_INPUT;
  GPIO_InitStruct.Pull = GPIO_NOPULL;
  HAL_GPIO_Init(BOOT1_GPIO_Port, &GPIO_InitStruct);

  /*Configure GPIO pin : CLK_IN_Pin */
  GPIO_InitStruct.Pin = CLK_IN_Pin;
  GPIO_InitStruct.Mode = GPIO_MODE_AF_PP;
  GPIO_InitStruct.Pull = GPIO_NOPULL;
  GPIO_InitStruct.Speed = GPIO_SPEED_FREQ_LOW;
  GPIO_InitStruct.Alternate = GPIO_AF5_SPI2;
  HAL_GPIO_Init(CLK_IN_GPIO_Port, &GPIO_InitStruct);

  /*Configure GPIO pins : LD4_Pin LD3_Pin LD5_Pin LD6_Pin
                           laser_Pin Audio_RST_Pin */
  GPIO_InitStruct.Pin = LD4_Pin|LD3_Pin|LD5_Pin|LD6_Pin
                          |laser_Pin|Audio_RST_Pin;
  GPIO_InitStruct.Mode = GPIO_MODE_OUTPUT_PP;
  GPIO_InitStruct.Pull = GPIO_NOPULL;
  GPIO_InitStruct.Speed = GPIO_SPEED_FREQ_LOW;
  HAL_GPIO_Init(GPIOD, &GPIO_InitStruct);

  /*Configure GPIO pin : clear_Pin */
  GPIO_InitStruct.Pin = clear_Pin;
  GPIO_InitStruct.Mode = GPIO_MODE_IT_RISING;
  GPIO_InitStruct.Pull = GPIO_PULLUP;
  HAL_GPIO_Init(clear_GPIO_Port, &GPIO_InitStruct);

  /*Configure GPIO pin : OTG_FS_OverCurrent_Pin */
  GPIO_InitStruct.Pin = OTG_FS_OverCurrent_Pin;
  GPIO_InitStruct.Mode = GPIO_MODE_INPUT;
  GPIO_InitStruct.Pull = GPIO_NOPULL;
  HAL_GPIO_Init(OTG_FS_OverCurrent_GPIO_Port, &GPIO_InitStruct);

  /*Configure GPIO pin : target_fire_Pin */
  GPIO_InitStruct.Pin = target_fire_Pin;
  GPIO_InitStruct.Mode = GPIO_MODE_IT_RISING;
  GPIO_InitStruct.Pull = GPIO_PULLUP;
  HAL_GPIO_Init(target_fire_GPIO_Port, &GPIO_InitStruct);

  /*Configure GPIO pin : MEMS_INT2_Pin */
  GPIO_InitStruct.Pin = MEMS_INT2_Pin;
  GPIO_InitStruct.Mode = GPIO_MODE_EVT_RISING;
  GPIO_InitStruct.Pull = GPIO_NOPULL;
  HAL_GPIO_Init(MEMS_INT2_GPIO_Port, &GPIO_InitStruct);

  /* EXTI interrupt init*/
  HAL_NVIC_SetPriority(EXTI0_IRQn, 0, 0);
  HAL_NVIC_EnableIRQ(EXTI0_IRQn);

  HAL_NVIC_SetPriority(EXTI9_5_IRQn, 0, 0);
  HAL_NVIC_EnableIRQ(EXTI9_5_IRQn);

}

/* USER CODE BEGIN 4 */
/**
  * @brief  Sets the angle of the servo motor.
  * @param  htim: Pointer to the Timer used (ex: &htim2)
  * @param  channel: PWM channel number
  * @param  angle: Desired angle (between 0 and 180 degrees)
  */
void set_servo_angle (TIM_HandleTypeDef *htim,uint32_t channel,uint8_t angle){
	// SG90 / MG995 style servo motors expect a signal between 1ms (0 degrees) and 2ms (180 degrees).
	// Based on the Timer period, the corresponding 'pulse_length' is calculated (Ex: between 210 and 1050).
	uint32_t pulse_length = 210 + (angle *(1050 - 210) / 180);
	__HAL_TIM_SET_COMPARE(htim,channel,pulse_length);
	// Note: The motor can draw high current while moving. Ensure the motor supply and ground (GND)
	// lines are correctly configured to prevent the board from locking up (resetting).
}

/**
  * Maps data from one numerical range to another proportionally.
  */
long map(long x, long in_min, long in_max, long out_min, long out_max)
{
  return (x - in_min) * (out_max - out_min + 1) / (in_max - in_min + 1) + out_min;
}

/**
  * @brief  DMA Interrupt Function executed when the ADC conversion is complete.
  * Takes joystick data and converts it into a processable format.
  */
void HAL_ADC_ConvCpltCallback(ADC_HandleTypeDef *hadc){
	if(hadc->Instance == ADC1){
	// Joystick X axis (value between 0-4095) is mapped to the servo angle (between 0-180 degrees).
		joy_servo_value = map(adc_value[0],0,4095,0,180);
	// Joystick Y axis is directly transferred to the variable for menu selection.
		joy_ssd1306 = adc_value[1];
	}

}

/**
  * @brief  Timer Input Capture Interrupt Function.
  * Captures via hardware how long the echo (ECHO) signal from the HC-SR04 lasts.
  */
void HAL_TIM_IC_CaptureCallback(TIM_HandleTypeDef *htim){
	if(htim ->Channel == HAL_TIM_ACTIVE_CHANNEL_2){
	// Read the timer value when the signal drops (when the measurement ends)
		time = HAL_TIM_ReadCapturedValue(htim,TIM_CHANNEL_2);
		flag=1;// Notify the main loop that a new measurement has arrived
	}
}

/**
  * @brief  External Button (GPIO EXTI) Interrupt Function.
  * Instantly triggered via hardware when the sensor and fire buttons are pressed.
  */
void HAL_GPIO_EXTI_Callback(uint16_t GPIO1){
	if(GPIO1 == clear_Pin){
		clear_flag = 1;// Clear button was pressed
	}else if(GPIO1 == target_fire_Pin){
		target_fire_flag =1;// Fire button was pressed
	}
}

void fire(){
	for(uint8_t i = 0 ; i <=5 ; i++){
		HAL_GPIO_WritePin(laser_GPIO_Port,laser_Pin,GPIO_PIN_SET);
		HAL_Delay(100);
		HAL_GPIO_WritePin(laser_GPIO_Port,laser_Pin,GPIO_PIN_RESET);
	}
}
/* USER CODE END 4 */

void Error_Handler(void)
{
  __disable_irq();
  while (1)
  {
  }
}
